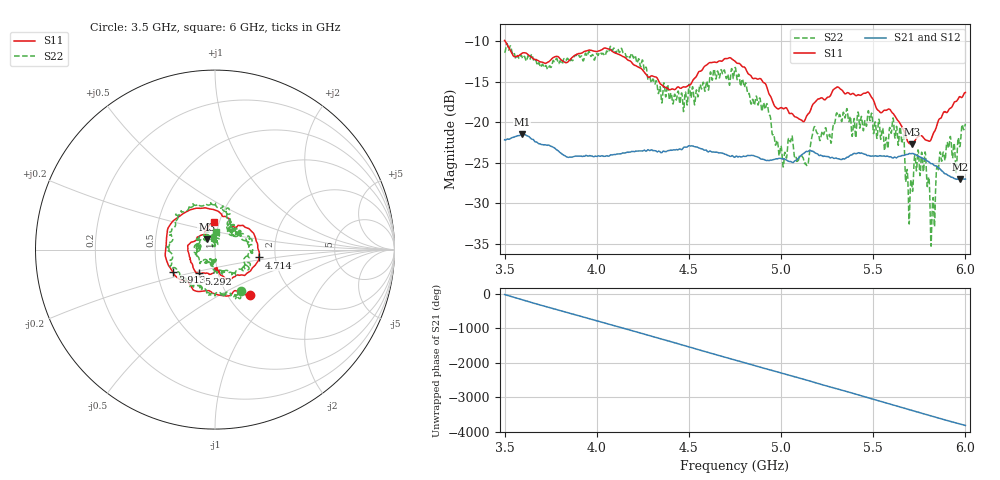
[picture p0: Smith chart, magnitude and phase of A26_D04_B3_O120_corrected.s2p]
! Created with skrf 1.9.0 (http://scikit-rf.org).
# Hz S RI R 50.0
!freq ReS11 ImS11 ReS21 ImS21 ReS12 ImS12 ReS22 ImS22
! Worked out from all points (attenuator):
!   1601 points, 3.5 GHz to 6 GHz, reference 50 ohm
!   highest |S21| = -21.49 dB at 3.594 GHz (marker M1); lowest = -27.0 dB at 5.972 GHz (marker M2)
!   lowest |S11| = -22.7 dB at 5.709 GHz (marker M3), VSWR 1.16, Z = 45.3 + j5.2 ohm
!   |S11| at or under -10 dB: 3.503 GHz to end of sweep
!   |S22| runs from -35.3 to -10.3 dB; largest |S21 - S12| = 0.001
!   S11 on the Smith chart (normalised r, x): 3.5 GHz: 1.25, -0.71; 3.913 GHz: 0.60, -0.16; 4.714 GHz: 1.64, -0.15; 5.292 GHz: 0.80, -0.22; 6 GHz: 0.95, +0.30
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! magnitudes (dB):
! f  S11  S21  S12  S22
! 3.5 GHz  -9.9  -22.2  -22.1  -11.3
! 3.594 GHz  -11.5  -21.5  -21.5  -11.9
! 3.913 GHz  -11.5  -24.2  -24.1  -11.9
! 3.917 GHz  -11.5  -24.2  -24.2  -11.8
! 4.141 GHz  -11.9  -23.8  -23.8  -11.3
! 4.334 GHz  -14.8  -23.6  -23.5  -16.5
! 4.714 GHz  -12.1  -24.1  -24.1  -14.4
! 4.75 GHz  -12.5  -24.3  -24.2  -13.3
! 4.917 GHz  -15.3  -24.7  -24.6  -18.2
! 5.017 GHz  -18.3  -24.5  -24.4  -24.2
! 5.138 GHz  -19.3  -23.6  -23.5  -25.3
! 5.167 GHz  -18.0  -23.6  -23.5  -21.8
! 5.292 GHz  -15.8  -24.4  -24.4  -20.0
! 5.584 GHz  -18.4  -24.2  -24.2  -21.6
! 5.655 GHz  -20.5  -24.1  -24.0  -22.6
! 5.686 GHz  -22.3  -24.0  -23.9  -26.4
! 5.709 GHz  -22.7  -23.9  -23.8  -27.7
! 5.773 GHz  -21.9  -24.5  -24.4  -26.0
! 5.822 GHz  -21.6  -25.1  -25.1  -29.9
! 5.855 GHz  -19.7  -25.6  -25.5  -25.5
! 5.972 GHz  -16.9  -27.0  -27.0  -22.9
! 6 GHz  -16.3  -27.0  -26.9  -20.2
